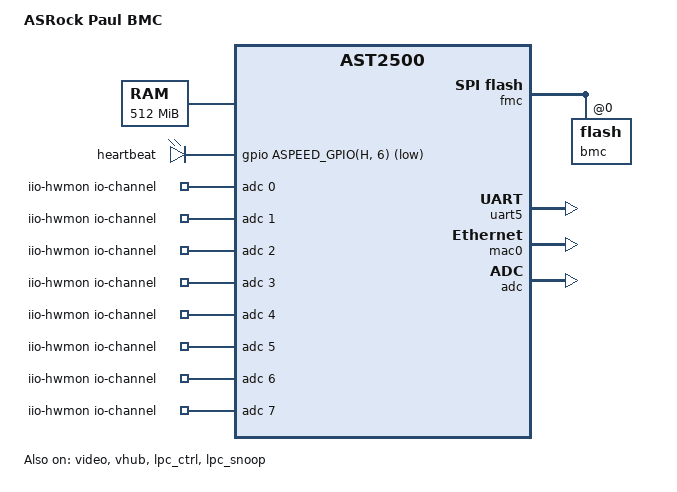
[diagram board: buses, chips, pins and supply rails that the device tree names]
// SPDX-License-Identifier: GPL-2.0
// Copyright (c) 2017 Intel Corporation
/dts-v1/;

#include "aspeed-g5.dtsi"
#include <dt-bindings/gpio/aspeed-gpio.h>

/ {
    model = "ASRock Paul BMC";
    compatible = "asrock,paul-bmc", "aspeed,ast2500";

    chosen {
        stdout-path = &uart5;
        bootargs = "console=tty0 console=ttyS4,115200 earlycon";
    };

    memory@80000000 {
        device_type = "memory";
        reg = <0x80000000 0x20000000>;
    };

    leds {
        compatible = "gpio-leds";

        heartbeat {
            gpios = <&gpio ASPEED_GPIO(H, 6) GPIO_ACTIVE_LOW>;
            linux,default-trigger = "timer";
        };
    };

    iio-hwmon {
        compatible = "iio-hwmon";
        io-channels = <&adc 0>, <&adc 1>, <&adc 2>, <&adc 3>,
            <&adc 4>, <&adc 5>, <&adc 6>, <&adc 7>,
            <&adc 8>, <&adc 9>, <&adc 10>, <&adc 11>,
            <&adc 12>, <&adc 13>, <&adc 14>, <&adc 15>;
    };
};

&fmc {
    status = "okay";
    flash@0 {
        label = "bmc";
        status = "okay";
        m25p,fast-read;
#include "openbmc-flash-layout.dtsi"
    };
};

&uart5 {
    status = "okay";
};

&mac0 {
    status = "okay";
    pinctrl-names = "default";
    pinctrl-0 = <&pinctrl_rmii1_default &pinctrl_mdio1_default>;
};

&video {
    status = "okay";
};

&vhub {
    status = "okay";
};

&lpc_ctrl {
    status = "okay";
};

&lpc_snoop {
    status = "okay";
    snoop-ports = <0x80>;
};

&adc {
    status = "okay";
};

&gpio {
    status = "okay";

    gpio-line-names =
    /*A0-A7*/   "","","","","","","","",
    /*B0-B7*/   "","","","","","","","",
    /*C0-C7*/   "","","","","","","","",
    /*D0-D7*/   "","","","","","","","",
    /*E0-E7*/   "","","","","","","","",
    /*F0-F7*/   "","","","","","","","",
    /*G0-G7*/   "","","","","","","","",
    /*H0-H7*/   "","","","","","","","",
    /*I0-I7*/   "","","","","","","","",
    /*J0-J7*/   "","","","","","","","",
    /*K0-K7*/   "","","","","","","","",
    /*L0-L7*/   "","","","","","","","",
    /*M0-M7*/   "","","","","","","","",
    /*N0-N7*/   "","","","","","","","",
    /*O0-O7*/   "","","","","","","","",
    /*P0-P7*/   "","","","","","","","",
    /*Q0-Q7*/   "","","","","","","","",
    /*R0-R7*/   "","","","","","","","",
    /*S0-S7*/   "","","","","","","","",
    /*T0-T7*/   "","","","","","","","",
    /*U0-U7*/   "","","","","","","","",
    /*V0-V7*/   "","","","","","","","",
    /*W0-W7*/   "","","","","","","","",
    /*X0-X7*/   "","","","","","","","",
    /*Y0-Y7*/   "","","","","","","","",
    /*Z0-Z7*/   "","","","","","","","",
    /*AA0-AA7*/ "","","","","","","","",
    /*AB0-AB7*/ "","","","","","","","",
    /*AC0-AC7*/ "","","","","","","","";
};
